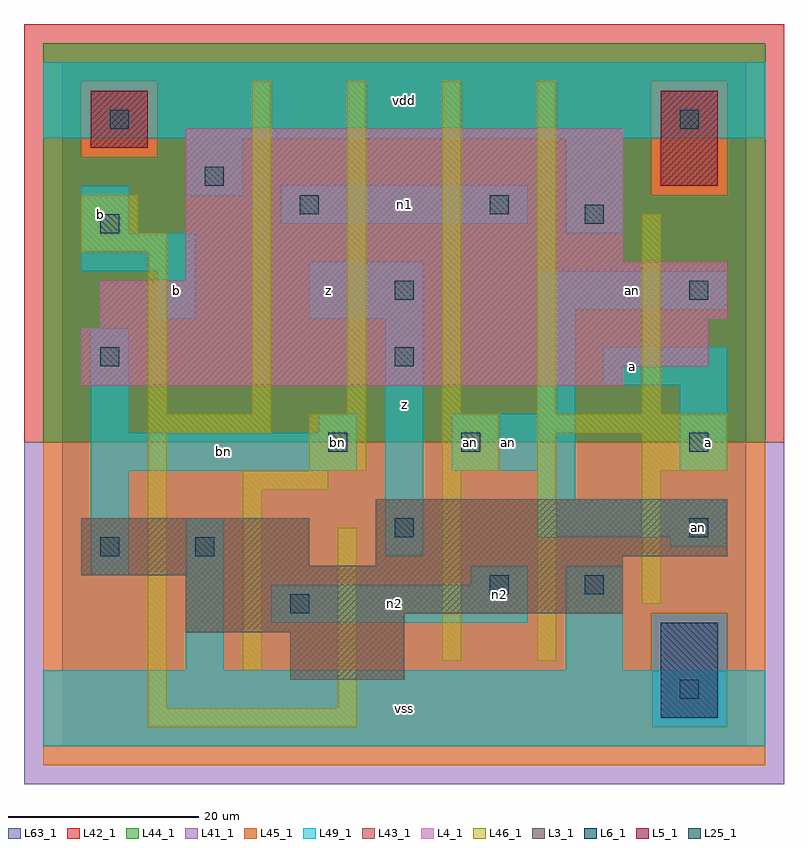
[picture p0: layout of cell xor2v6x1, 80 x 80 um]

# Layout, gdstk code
import gdstk
lib = gdstk.Library(unit=1e-6, precision=1e-09)
def R(c, l, rs):  # rectangles x0, y0, x1, y1
    for r in rs: c.add(gdstk.rectangle(r[:2], r[2:], *l))
def A(c, l, x, y, w, h, nx, ny, dx, dy):  # array of equal rectangles
    R(c, l, [(x+i*dx, y+j*dy, x+i*dx+w, y+j*dy+h) for i in range(nx) for j in range(ny)])
L3_1 = (3, 1)
L4_1 = (4, 1)
L5_1 = (5, 1)
L6_1 = (6, 1)
L25_1 = (25, 1)
L41_1 = (41, 1)
L42_1 = (42, 1)
L43_1 = (43, 1)
L44_1 = (44, 1)
L45_1 = (45, 1)
L46_1 = (46, 1)
L49_1 = (49, 1)
L63_1 = (63, 1)

xor2v6x1 = lib.new_cell('xor2v6x1')
R(xor2v6x1, L3_1, [(24,7,36,12), (13,12,36,14), (13,14,59,18), (2,18,59,19), (2,19,26,24), (33,19,59,20), (33,20,70,26)])
R(xor2v6x1, L4_1, [(2,38,59,40), (2,40,68,44), (4,44,68,45), (4,45,70,49), (13,49,70,51), (13,51,59,65)])
R(xor2v6x1, L5_1, [(63,59,69,69), (3,63,9,69)])
R(xor2v6x1, L6_1, [(63,3,69,13), (63,3,69,13)])
R(xor2v6x1, L25_1, [(65,5,67,7), (24,14,26,16), (45,16,47,18), (55,16,57,18), (4,20,6,22), (14,20,16,22), (35,22,37,24), (66,22,68,24), (28,31,30,33), (42,31,44,33), (66,31,68,33), (4,40,6,42), (35,40,37,42), (35,47,37,49), (66,47,68,49), (4,54,6,56), (55,55,57,57), (25,56,27,58), (45,56,47,58), (15,59,17,61), (5,65,7,67), (65,65,67,67)])
R(xor2v6x1, L41_1, [(-4,-4,76,32)])
R(xor2v6x1, L42_1, [(-4,32,76,76)])
R(xor2v6x1, L43_1, [(63,3,69,13), (24,7,36,12), (13,12,36,14), (13,14,59,18), (2,18,59,19), (2,19,26,24), (33,19,59,20), (33,20,70,26), (2,38,59,40), (2,40,68,44), (4,44,68,45), (4,45,70,49), (13,49,70,51), (13,51,59,65), (63,59,69,69), (3,63,9,69)])
R(xor2v6x1, L44_1, [(62,2,70,14), (-2,32,74,58), (-2,58,62,62), (70,58,74,70), (-2,62,2,70), (10,62,62,70), (-2,70,74,74)])
R(xor2v6x1, L45_1, [(-2,-2,74,2), (-2,2,62,14), (70,2,74,14), (-2,14,74,32), (62,58,70,70), (2,62,10,70)])
A(xor2v6x1, L46_1, 20, 35, 2, 35, 4, 1, 10, 0)
R(xor2v6x1, L46_1, [(9,2,31,4), (9,4,11,33), (29,4,31,23), (19,8,21,27), (40,9,42,29), (50,9,52,33), (61,15,63,29), (19,27,28,29), (26,29,32,35), (40,29,46,35), (61,29,70,33), (9,33,22,35), (50,33,70,35), (9,35,11,52), (61,35,63,56), (2,52,11,54), (2,54,8,58)])
R(xor2v6x1, L49_1, [(-2,0,74,8), (13,8,17,24), (53,8,59,19), (22,13,49,17), (43,17,49,19), (3,18,7,29), (34,20,38,45), (64,21,70,22), (50,22,70,26), (50,26,54,29), (3,29,31,33), (41,29,54,35), (65,29,70,38), (3,33,7,44), (27,33,31,35), (50,35,54,46), (57,38,70,42), (10,45,14,50), (26,45,38,51), (50,46,70,50), (2,50,14,54), (2,54,7,59), (53,54,59,64), (23,55,49,59), (13,58,19,64), (-2,64,74,72)])
R(xor2v6x1, L63_1, [(0,0,72,72)])
xor2v6x1.add(gdstk.Label('bn', (29,32), layer=49, texttype=1))
xor2v6x1.add(gdstk.Label('an', (43,32), layer=49, texttype=1))
xor2v6x1.add(gdstk.Label('b', (12,48), layer=49, texttype=1))
xor2v6x1.add(gdstk.Label('b', (4,56), layer=49, texttype=1))
xor2v6x1.add(gdstk.Label('bn', (17,31), layer=49, texttype=1))
xor2v6x1.add(gdstk.Label('bn', (29,32), layer=49, texttype=1))
xor2v6x1.add(gdstk.Label('z', (28,48), layer=49, texttype=1))
xor2v6x1.add(gdstk.Label('vss', (36,4), layer=49, texttype=1))
xor2v6x1.add(gdstk.Label('n2', (35,15), layer=49, texttype=1))
xor2v6x1.add(gdstk.Label('n2', (46,16), layer=49, texttype=1))
xor2v6x1.add(gdstk.Label('an', (47,32), layer=49, texttype=1))
xor2v6x1.add(gdstk.Label('z', (36,36), layer=49, texttype=1))
xor2v6x1.add(gdstk.Label('n1', (36,57), layer=49, texttype=1))
xor2v6x1.add(gdstk.Label('vdd', (36,68), layer=49, texttype=1))
xor2v6x1.add(gdstk.Label('an', (67,23), layer=49, texttype=1))
xor2v6x1.add(gdstk.Label('a', (68,32), layer=49, texttype=1))
xor2v6x1.add(gdstk.Label('a', (60,40), layer=49, texttype=1))
xor2v6x1.add(gdstk.Label('an', (60,48), layer=49, texttype=1))

lib.write_gds('xor2v6x1.gds')
